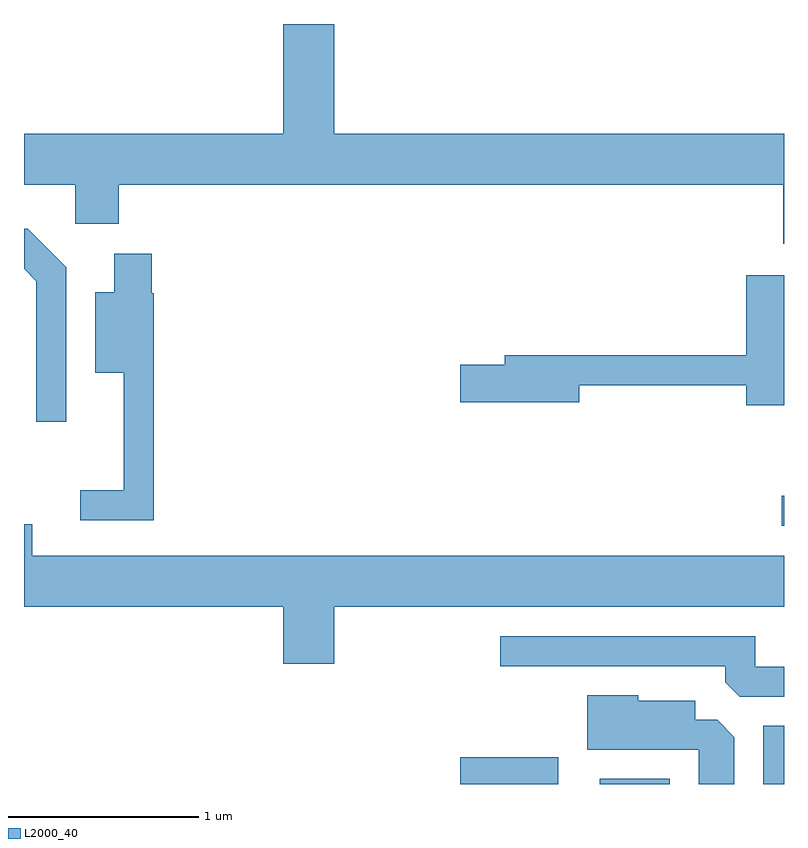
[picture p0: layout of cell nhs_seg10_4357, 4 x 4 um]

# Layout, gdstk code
import gdstk
lib = gdstk.Library(unit=1e-6, precision=1e-09)
def R(c, l, rs):  # rectangles x0, y0, x1, y1
    for r in rs: c.add(gdstk.rectangle(r[:2], r[2:], *l))
def P(c, l, *ps):  # polygons
    for p in ps: c.add(gdstk.Polygon(p, *l))
L2000_40 = (2000, 40)

nhs_seg10_4357 = lib.new_cell('nhs_seg10_4357')
R(nhs_seg10_4357, L2000_40, [(315.906,2128.522,316.424,2128.664), (316.641,2128.522,317.009,2128.549), (317.501,2128.522,317.611,2128.829), (317.598,2129.881,317.611,2130.039)])
P(nhs_seg10_4357, L2000_40, [(317.611,2131.944),(315.244,2131.944),(315.244,2132.522),(314.976,2132.522),(314.976,2131.944),(313.611,2131.944),(313.611,2131.676),(313.881,2131.676),(313.881,2131.471),(314.109,2131.471),(314.109,2131.676),(317.606,2131.676),(317.606,2131.366),(317.611,2131.366)],
  [(313.834,2131.242),(313.632,2131.444),(313.611,2131.444),(313.611,2131.234),(313.676,2131.169),(313.676,2130.428),(313.834,2130.428)],
  [(314.294,2131.105),(314.284,2131.105),(314.284,2131.314),(314.086,2131.314),(314.086,2131.109),(313.986,2131.109),(313.986,2130.686),(314.136,2130.686),(314.136,2130.069),(313.908,2130.069),(313.908,2129.911),(314.294,2129.911)],
  [(317.611,2131.199),(317.411,2131.199),(317.411,2130.779),(316.141,2130.779),(316.141,2130.729),(315.906,2130.729),(315.906,2130.531),(316.534,2130.531),(316.534,2130.621),(317.411,2130.621),(317.411,2130.516),(317.611,2130.516)],
  [(315.244,2129.456),(317.611,2129.456),(317.611,2129.724),(313.654,2129.724),(313.654,2129.889),(313.611,2129.889),(313.611,2129.456),(314.976,2129.456),(314.976,2129.156),(315.244,2129.156)],
  [(317.611,2129.139),(317.459,2129.139),(317.459,2129.299),(316.118,2129.299),(316.118,2129.141),(317.301,2129.141),(317.301,2129.057),(317.377,2128.981),(317.611,2128.981)],
  [(317.349,2128.769),(317.259,2128.859),(317.144,2128.859),(317.144,2128.959),(316.844,2128.959),(316.844,2128.989),(316.576,2128.989),(316.576,2128.701),(317.161,2128.701),(317.161,2128.522),(317.349,2128.522)])

lib.write_gds('nhs_seg10_4357.gds')
